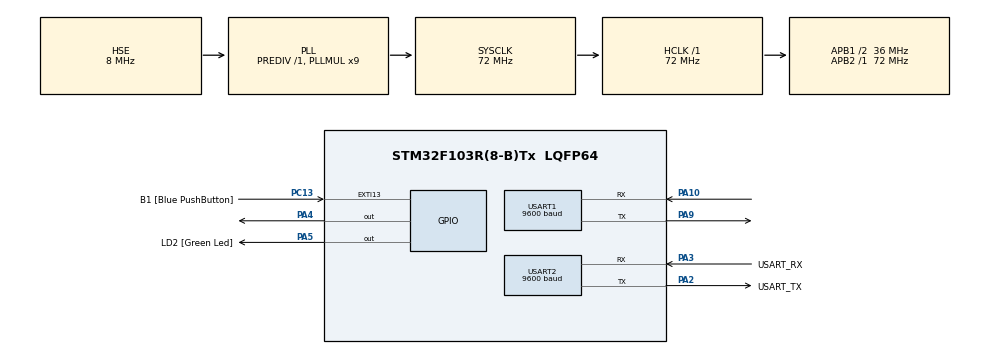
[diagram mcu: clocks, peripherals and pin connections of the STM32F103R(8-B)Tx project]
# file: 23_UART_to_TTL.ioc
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Mcu.Family=STM32F1
Mcu.Name=STM32F103R(8-B)Tx
Mcu.Package=LQFP64
NVIC.EXTI15_10_IRQn=true\:0\:0\:false\:false\:true\:true\:true\:true
NVIC.PriorityGroup=NVIC_PRIORITYGROUP_4
NVIC.USART1_IRQn=true\:0\:0\:false\:false\:true\:true\:true\:true
NVIC.USART2_IRQn=true\:0\:0\:false\:false\:true\:true\:true\:true
PA10.Mode=Asynchronous
PA10.Signal=USART1_RX
PA13.GPIO_Label=TMS
PA13.Mode=Serial_Wire
PA13.Signal=SYS_JTMS-SWDIO
PA14.GPIO_Label=TCK
PA14.Mode=Serial_Wire
PA14.Signal=SYS_JTCK-SWCLK
PA2.GPIO_Label=USART_TX
PA2.GPIO_Mode=GPIO_MODE_AF_PP
PA2.GPIO_PuPd=GPIO_NOPULL
PA2.GPIO_Speed=GPIO_SPEED_FREQ_LOW
PA2.Mode=Asynchronous
PA2.Signal=USART2_TX
PA3.GPIO_Label=USART_RX
PA3.GPIO_Mode=GPIO_MODE_AF_PP
PA3.GPIO_PuPd=GPIO_NOPULL
PA3.GPIO_Speed=GPIO_SPEED_FREQ_LOW
PA3.Mode=Asynchronous
PA3.Signal=USART2_RX
PA4.Signal=GPIO_Output
PA5.GPIO_Label=LD2 [Green Led]
PA5.GPIO_ModeDefaultOutputPP=GPIO_MODE_OUTPUT_PP
PA5.GPIO_PuPd=GPIO_NOPULL
PA5.GPIO_Speed=GPIO_SPEED_FREQ_LOW
PA5.Signal=GPIO_Output
PA9.Mode=Asynchronous
PA9.Signal=USART1_TX
PB3.GPIO_Label=SWO
PB3.Signal=SYS_JTDO-TRACESWO
PC13-TAMPER-RTC.GPIO_Label=B1 [Blue PushButton]
PC13-TAMPER-RTC.GPIO_PuPd=GPIO_PULLDOWN
PC13-TAMPER-RTC.Signal=GPXTI13
PC14-OSC32_IN.Mode=LSE-External-Oscillator
PC14-OSC32_IN.Signal=RCC_OSC32_IN
PC15-OSC32_OUT.Mode=LSE-External-Oscillator
PC15-OSC32_OUT.Signal=RCC_OSC32_OUT
PD0-OSC_IN.Mode=HSE-External-Oscillator
PD0-OSC_IN.Signal=RCC_OSC_IN
PD1-OSC_OUT.Mode=HSE-External-Oscillator
PD1-OSC_OUT.Signal=RCC_OSC_OUT
ProjectManager.HeapSize=0x200
ProjectManager.StackSize=0x400
ProjectManager.TargetToolchain=STM32CubeIDE
RCC.AHBFreq_Value=72000000
RCC.APB1CLKDivider=RCC_HCLK_DIV2
RCC.APB1Freq_Value=36000000
RCC.APB1TimFreq_Value=72000000
RCC.APB2Freq_Value=72000000
RCC.APB2TimFreq_Value=72000000
RCC.HCLKFreq_Value=72000000
RCC.PLLMUL=RCC_PLL_MUL9
RCC.PLLSourceVirtual=RCC_PLLSOURCE_HSE
RCC.RTCClockSelection=RCC_RTCCLKSOURCE_LSE
RCC.SYSCLKFreq_VALUE=72000000
RCC.SYSCLKSource=RCC_SYSCLKSOURCE_PLLCLK
RCC.USBFreq_Value=72000000
USART1.BaudRate=9600
USART1.VirtualMode=VM_ASYNC
USART2.BaudRate=9600
USART2.VirtualMode=VM_ASYNC
board=NUCLEO-F103RB

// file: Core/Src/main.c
/* USER CODE BEGIN Header */
/**
  ******************************************************************************
  * @file           : main.c
  * @brief          : Main program body
  ******************************************************************************
  * @attention
  *
  * Copyright (c) 2025 STMicroelectronics.
  * All rights reserved.
  *
  * This software is licensed under terms that can be found in the LICENSE file
  * in the root directory of this software component.
  * If no LICENSE file comes with this software, it is provided AS-IS.
  *
  ******************************************************************************
  */
/* USER CODE END Header */
#include "main.h"

UART_HandleTypeDef huart1;
UART_HandleTypeDef huart2;

/* USER CODE BEGIN PV */

uint8_t RX1_Char = 0x00;

/* USER CODE END PV */

void SystemClock_Config(void);
static void MX_GPIO_Init(void);
static void MX_USART2_UART_Init(void);
static void MX_USART1_UART_Init(void);
/* USER CODE BEGIN PFP */

////////////////////UART DATA RECEPTION COMPLETION CALLBACK_FUNCTION///
void HAL_USART_RxCpltCallback(UART_HandleTypeDef *huart)
{
	HAL_UART_Receive_IT(&huart1, &RX1_Char, 1);
}

/* USER CODE END PFP */

int main(void)
{

  /* USER CODE BEGIN 1 */

	uint8_t MSG1[] = "Button state: Pressed\r\n";
	uint8_t MSG2[] = "Button state: Released\r\n";

  /* USER CODE END 1 */

  /* MCU Configuration--------------------------------------------------------*/

  /* Reset of all peripherals, Initializes the Flash interface and the Systick. */
  HAL_Init();

  /* Configure the system clock */
  SystemClock_Config();

  /* Initialize all configured peripherals */
  MX_GPIO_Init();
  MX_USART2_UART_Init();
  MX_USART1_UART_Init();
  /* USER CODE BEGIN 2 */

  HAL_UART_Receive_IT(&huart1, &RX1_Char, 1);

  HAL_GPIO_TogglePin(GPIOA, GPIO_PIN_4);
  HAL_Delay(500);
  HAL_GPIO_TogglePin(GPIOA, GPIO_PIN_4);

  HAL_GPIO_TogglePin(GPIOA, GPIO_PIN_5);
  HAL_Delay(500);
  HAL_GPIO_TogglePin(GPIOA, GPIO_PIN_5);

  /* USER CODE END 2 */

  /* Infinite loop */
  /* USER CODE BEGIN WHILE */
  while (1)
  {
////////////////////READ BUTTON & SEND IT OVER UART////////////////////
	  if(HAL_GPIO_ReadPin(GPIOC, GPIO_PIN_13))
	  {
		  HAL_UART_Transmit(&huart1, MSG2, sizeof(MSG2), 100);
	  }
	  else
	  {
		  HAL_UART_Transmit(&huart1, MSG1, sizeof(MSG1), 100);
	  }
////////////////////RED RECEIVED CHAR & TOGGLE LED's ACCORDINGLY///////
	  if(RX1_Char == '1')
	  {
		  HAL_GPIO_TogglePin(GPIOA, GPIO_PIN_4);
		  HAL_UART_Receive_IT(&huart1, &RX1_Char, 1);
		  RX1_Char = 0x00;
	  }
	  if(RX1_Char == '2')
	  {
		  HAL_GPIO_TogglePin(GPIOA, GPIO_PIN_5);
		  HAL_UART_Receive_IT(&huart1, &RX1_Char, 1);
		  RX1_Char = 0x00;
	  }
	  HAL_Delay(100);

    /* USER CODE END WHILE */

  }
}

void SystemClock_Config(void)
{
  RCC_OscInitTypeDef RCC_OscInitStruct = {0};
  RCC_ClkInitTypeDef RCC_ClkInitStruct = {0};

  /** Initializes the RCC Oscillators according to the specified parameters
  * in the RCC_OscInitTypeDef structure.
  */
  RCC_OscInitStruct.OscillatorType = RCC_OSCILLATORTYPE_HSE;
  RCC_OscInitStruct.HSEState = RCC_HSE_ON;
  RCC_OscInitStruct.HSEPredivValue = RCC_HSE_PREDIV_DIV1;
  RCC_OscInitStruct.HSIState = RCC_HSI_ON;
  RCC_OscInitStruct.PLL.PLLState = RCC_PLL_ON;
  RCC_OscInitStruct.PLL.PLLSource = RCC_PLLSOURCE_HSE;
  RCC_OscInitStruct.PLL.PLLMUL = RCC_PLL_MUL9;
  if (HAL_RCC_OscConfig(&RCC_OscInitStruct) != HAL_OK)
  {
    Error_Handler();
  }

  /** Initializes the CPU, AHB and APB buses clocks
  */
  RCC_ClkInitStruct.ClockType = RCC_CLOCKTYPE_HCLK|RCC_CLOCKTYPE_SYSCLK
                              |RCC_CLOCKTYPE_PCLK1|RCC_CLOCKTYPE_PCLK2;
  RCC_ClkInitStruct.SYSCLKSource = RCC_SYSCLKSOURCE_PLLCLK;
  RCC_ClkInitStruct.AHBCLKDivider = RCC_SYSCLK_DIV1;
  RCC_ClkInitStruct.APB1CLKDivider = RCC_HCLK_DIV2;
  RCC_ClkInitStruct.APB2CLKDivider = RCC_HCLK_DIV1;

  if (HAL_RCC_ClockConfig(&RCC_ClkInitStruct, FLASH_LATENCY_2) != HAL_OK)
  {
    Error_Handler();
  }
}

static void MX_USART1_UART_Init(void)
{

  huart1.Instance = USART1;
  huart1.Init.BaudRate = 9600;
  huart1.Init.WordLength = UART_WORDLENGTH_8B;
  huart1.Init.StopBits = UART_STOPBITS_1;
  huart1.Init.Parity = UART_PARITY_NONE;
  huart1.Init.Mode = UART_MODE_TX_RX;
  huart1.Init.HwFlowCtl = UART_HWCONTROL_NONE;
  huart1.Init.OverSampling = UART_OVERSAMPLING_16;
  if (HAL_UART_Init(&huart1) != HAL_OK)
  {
    Error_Handler();
  }

}

static void MX_USART2_UART_Init(void)
{

  huart2.Instance = USART2;
  huart2.Init.BaudRate = 9600;
  huart2.Init.WordLength = UART_WORDLENGTH_8B;
  huart2.Init.StopBits = UART_STOPBITS_1;
  huart2.Init.Parity = UART_PARITY_NONE;
  huart2.Init.Mode = UART_MODE_TX_RX;
  huart2.Init.HwFlowCtl = UART_HWCONTROL_NONE;
  huart2.Init.OverSampling = UART_OVERSAMPLING_16;
  if (HAL_UART_Init(&huart2) != HAL_OK)
  {
    Error_Handler();
  }

}

static void MX_GPIO_Init(void)
{
  GPIO_InitTypeDef GPIO_InitStruct = {0};

  /* GPIO Ports Clock Enable */
  __HAL_RCC_GPIOC_CLK_ENABLE();
  __HAL_RCC_GPIOD_CLK_ENABLE();
  __HAL_RCC_GPIOA_CLK_ENABLE();
  __HAL_RCC_GPIOB_CLK_ENABLE();

  /*Configure GPIO pin Output Level */
  HAL_GPIO_WritePin(GPIOA, GPIO_PIN_4|LD2_Pin, GPIO_PIN_RESET);

  /*Configure GPIO pin : B1_Pin */
  GPIO_InitStruct.Pin = B1_Pin;
  GPIO_InitStruct.Mode = GPIO_MODE_IT_RISING;
  GPIO_InitStruct.Pull = GPIO_PULLDOWN;
  HAL_GPIO_Init(B1_GPIO_Port, &GPIO_InitStruct);

  /*Configure GPIO pins : PA4 LD2_Pin */
  GPIO_InitStruct.Pin = GPIO_PIN_4|LD2_Pin;
  GPIO_InitStruct.Mode = GPIO_MODE_OUTPUT_PP;
  GPIO_InitStruct.Pull = GPIO_NOPULL;
  GPIO_InitStruct.Speed = GPIO_SPEED_FREQ_LOW;
  HAL_GPIO_Init(GPIOA, &GPIO_InitStruct);

  /* EXTI interrupt init*/
  HAL_NVIC_SetPriority(EXTI15_10_IRQn, 0, 0);
  HAL_NVIC_EnableIRQ(EXTI15_10_IRQn);

}

void Error_Handler(void)
{
  __disable_irq();
  while (1)
  {
  }
}
